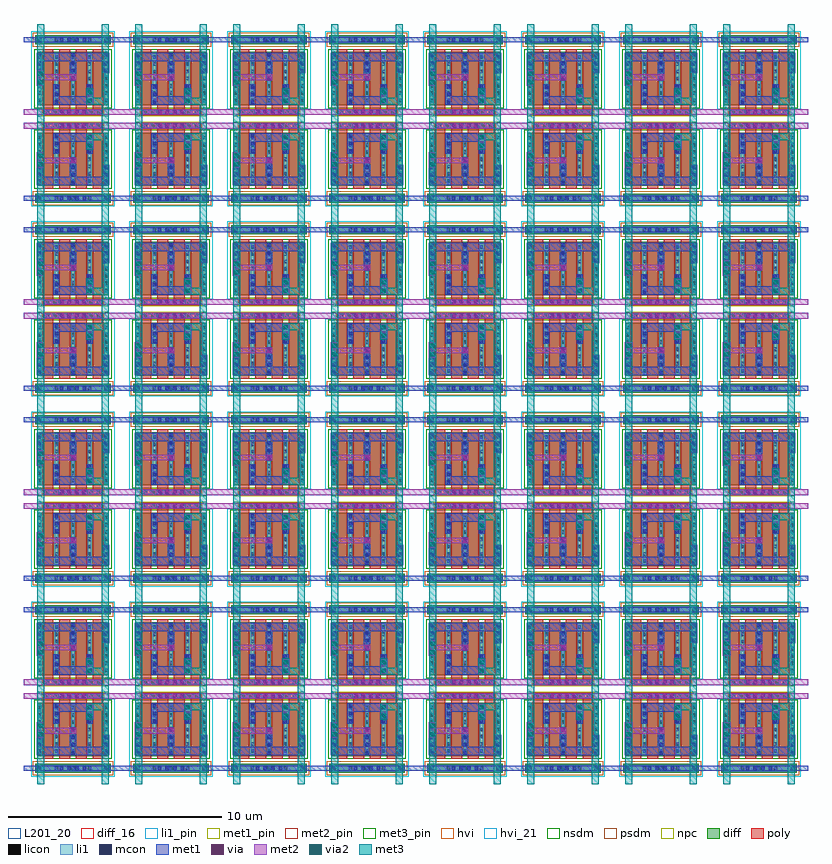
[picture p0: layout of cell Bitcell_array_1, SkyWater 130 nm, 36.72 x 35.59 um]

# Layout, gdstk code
import gdstk
lib = gdstk.Library(unit=1e-6, precision=1e-09)
def R(c, l, rs):  # rectangles x0, y0, x1, y1
    for r in rs: c.add(gdstk.rectangle(r[:2], r[2:], *l))
def A(c, l, x, y, w, h, nx, ny, dx, dy):  # array of equal rectangles
    R(c, l, [(x+i*dx, y+j*dy, x+i*dx+w, y+j*dy+h) for i in range(nx) for j in range(ny)])
diff_16 = (65, 16)
diff = (65, 20)
poly = (66, 20)
licon = (66, 44)
li1_pin = (67, 16)
li1 = (67, 20)
mcon = (67, 44)
met1_pin = (68, 16)
met1 = (68, 20)
via = (68, 44)
met2_pin = (69, 16)
met2 = (69, 20)
via2 = (69, 44)
met3_pin = (70, 16)
met3 = (70, 20)
hvi = (75, 20)
hvi_21 = (75, 21)
nsdm = (93, 44)
psdm = (94, 20)
npc = (95, 20)
L201_20 = (201, 20)

nmos_v5_cdns_71447649592 = lib.new_cell('nmos_v5_CDNS_714476495920')
A(nmos_v5_cdns_71447649592, diff_16, 0.5, 0, 0.28, 2.5, 3, 1, 0.78, 0)
R(nmos_v5_cdns_71447649592, diff_16, [(-0.265,0,0,2.5), (2.84,0,3.105,2.5)])
R(nmos_v5_cdns_71447649592, diff, [(-0.265,0,3.105,2.5)])
A(nmos_v5_cdns_71447649592, poly, 0, -0.13, 0.5, 2.76, 4, 1, 0.78, 0)
A(nmos_v5_cdns_71447649592, poly, 0, 2.63, 0.5, 0.055, 4, 1, 0.78, 0)
R(nmos_v5_cdns_71447649592, poly, [(0,2.685,2.84,2.955)])
A(nmos_v5_cdns_71447649592, licon, -0.225, -0.66, 0.17, 0.17, 5, 2, 0.78, 0.805)
A(nmos_v5_cdns_71447649592, licon, -0.225, 0.485, 0.17, 0.17, 5, 6, 0.78, 0.34)
A(nmos_v5_cdns_71447649592, licon, 0.145, 2.735, 0.17, 0.17, 8, 1, 0.34, 0)
R(nmos_v5_cdns_71447649592, li1_pin, [(-0.305,-0.74,3.145,-0.41), (0.065,2.735,2.775,2.905)])
R(nmos_v5_cdns_71447649592, hvi, [(-0.525,-0.96,3.365,2.68)])
R(nmos_v5_cdns_71447649592, hvi_21, [(-0.525,-0.96,3.365,2.68)])
R(nmos_v5_cdns_71447649592, nsdm, [(-0.39,-0.125,3.23,2.625)])
R(nmos_v5_cdns_71447649592, npc, [(-0.05,2.635,2.89,3.005)])
nmos_v5_cdns_71447649592.add(gdstk.FlexPath([(-0.345,-0.575),(3.185,-0.575)], 0.41, ends="flush", simple_path=True, layer=65, datatype=20))  # diff
nmos_v5_cdns_71447649592.add(gdstk.FlexPath([(2.98,0.065),(2.98,2.435)], 0.17, ends="flush", simple_path=True, layer=67, datatype=20))  # li1
nmos_v5_cdns_71447649592.add(gdstk.FlexPath([(2.2,0.065),(2.2,2.435)], 0.17, ends="flush", simple_path=True, layer=67, datatype=20))  # li1
nmos_v5_cdns_71447649592.add(gdstk.FlexPath([(1.42,0.065),(1.42,2.435)], 0.17, ends="flush", simple_path=True, layer=67, datatype=20))  # li1
nmos_v5_cdns_71447649592.add(gdstk.FlexPath([(0.64,0.065),(0.64,2.435)], 0.17, ends="flush", simple_path=True, layer=67, datatype=20))  # li1
nmos_v5_cdns_71447649592.add(gdstk.FlexPath([(-0.14,0.065),(-0.14,2.435)], 0.17, ends="flush", simple_path=True, layer=67, datatype=20))  # li1
nmos_v5_cdns_71447649592.add(gdstk.FlexPath([(-0.305,-0.575),(3.145,-0.575)], 0.33, ends="flush", simple_path=True, layer=67, datatype=20))  # li1
nmos_v5_cdns_71447649592.add(gdstk.FlexPath([(0.065,2.82),(2.775,2.82)], 0.17, ends="flush", simple_path=True, layer=67, datatype=20))  # li1
nmos_v5_cdns_71447649592.add(gdstk.FlexPath([(-0.475,-0.575),(3.315,-0.575)], 0.67, ends="flush", simple_path=True, layer=94, datatype=20))  # psdm
nmos_v5_cdns_71447649592.add(gdstk.Label('s', (2.972,1.25), layer=65, texttype=6))
nmos_v5_cdns_71447649592.add(gdstk.Label('d', (2.2,1.25), layer=65, texttype=6))
nmos_v5_cdns_71447649592.add(gdstk.Label('s', (1.42,1.25), layer=65, texttype=6))
nmos_v5_cdns_71447649592.add(gdstk.Label('d', (0.64,1.25), layer=65, texttype=6))
nmos_v5_cdns_71447649592.add(gdstk.Label('s', (-0.133,1.25), layer=65, texttype=6))
nmos_v5_cdns_71447649592.add(gdstk.Label('b', (1.42,-0.575), layer=67, texttype=5))
nmos_v5_cdns_71447649592.add(gdstk.Label('g', (1.42,2.82), layer=67, texttype=5))

l1m1_cdns_714476495920 = lib.new_cell('L1M1_CDNS_714476495920')
R(l1m1_cdns_714476495920, li1, [(-0.085,-0.445,0.085,0.445)])
A(l1m1_cdns_714476495920, mcon, -0.085, -0.445, 0.17, 0.17, 1, 3, 0, 0.36)
R(l1m1_cdns_714476495920, met1, [(-0.145,-0.475,0.145,0.475)])

l1m1_cdns_714476495921 = lib.new_cell('L1M1_CDNS_714476495921')
R(l1m1_cdns_714476495921, li1, [(-0.085,-0.625,0.085,0.625)])
A(l1m1_cdns_714476495921, mcon, -0.085, -0.625, 0.17, 0.17, 1, 4, 0, 0.36)
R(l1m1_cdns_714476495921, met1, [(-0.145,-0.655,0.145,0.655)])

m1m2_cdns_714476495922 = lib.new_cell('M1M2_CDNS_714476495922')
R(m1m2_cdns_714476495922, met1, [(-0.16,-0.29,0.16,0.29)])
R(m1m2_cdns_714476495922, via, [(-0.075,-0.235,0.075,-0.085), (-0.075,0.085,0.075,0.235)])
R(m1m2_cdns_714476495922, met2, [(-0.16,-0.29,0.16,0.29)])

m2m3_cdns_714476495923 = lib.new_cell('M2M3_CDNS_714476495923')
R(m2m3_cdns_714476495923, met2, [(-0.185,-0.365,0.185,0.365)])
R(m2m3_cdns_714476495923, via2, [(-0.1,-0.3,0.1,-0.1), (-0.1,0.1,0.1,0.3)])
R(m2m3_cdns_714476495923, met3, [(-0.165,-0.385,0.165,0.385)])

m1m2_cdns_714476495924 = lib.new_cell('M1M2_CDNS_714476495924')
R(m1m2_cdns_714476495924, met1, [(-0.16,-0.13,0.16,0.13)])
R(m1m2_cdns_714476495924, via, [(-0.075,-0.075,0.075,0.075)])
R(m1m2_cdns_714476495924, met2, [(-0.16,-0.13,0.16,0.13)])

l1m1_cdns_714476495925 = lib.new_cell('L1M1_CDNS_714476495925')
R(l1m1_cdns_714476495925, li1, [(-0.625,-0.085,0.625,0.085)])
A(l1m1_cdns_714476495925, mcon, -0.625, -0.085, 0.17, 0.17, 4, 1, 0.36, 0)
R(l1m1_cdns_714476495925, met1, [(-0.685,-0.115,0.685,0.115)])

m1m2_cdns_714476495926 = lib.new_cell('M1M2_CDNS_714476495926')
R(m1m2_cdns_714476495926, met1, [(-0.64,-0.13,0.64,0.13)])
A(m1m2_cdns_714476495926, via, -0.555, -0.075, 0.15, 0.15, 4, 1, 0.32, 0)
R(m1m2_cdns_714476495926, met2, [(-0.64,-0.13,0.64,0.13)])

bitcell = lib.new_cell('Bitcell')
R(bitcell, met1_pin, [(10.445,0.715,10.845,0.945)])
R(bitcell, met1, [(8.34,0.715,9.95,0.945), (11.32,0.715,12.93,0.945), (9.22,1.44,10.49,1.84), (10.78,1.44,12.05,1.84), (10,3.47,11.27,3.87)])
R(bitcell, met2_pin, [(10.4,4.095,10.87,4.355)])
R(bitcell, met2, [(9.3,2.46,10.475,2.72), (8.34,4.095,9.995,4.355), (11.275,4.095,12.93,4.355)])
R(bitcell, met3_pin, [(8.95,4.095,9.28,4.41), (11.99,4.095,12.32,4.41)])
R(bitcell, met3, [(8.95,0.095,9.28,4.545), (11.99,0.095,12.32,4.545), (11.58,3.54,12.32,3.87)])
R(bitcell, L201_20, [(10.475,2.43,10.795,2.75)])
bitcell.add(gdstk.Reference(nmos_v5_cdns_71447649592, (9.215,1.405)))
bitcell.add(gdstk.Reference(l1m1_cdns_714476495920, (9.855,3.395)))
bitcell.add(gdstk.Reference(l1m1_cdns_714476495920, (11.415,3.395)))
bitcell.add(gdstk.Reference(l1m1_cdns_714476495920, (9.075,1.915)))
bitcell.add(gdstk.Reference(l1m1_cdns_714476495920, (12.195,1.915)))
bitcell.add(gdstk.Reference(l1m1_cdns_714476495921, (10.635,2.095)))
bitcell.add(gdstk.Reference(m1m2_cdns_714476495922, (11.415,3.58)))
bitcell.add(gdstk.Reference(m2m3_cdns_714476495923, (11.415,3.485)))
bitcell.add(gdstk.Reference(m2m3_cdns_714476495923, (9.115,2.62)))
bitcell.add(gdstk.Reference(m1m2_cdns_714476495924, (10.635,2.59)))
bitcell.add(gdstk.Reference(l1m1_cdns_714476495925, (10.635,0.83)))
bitcell.add(gdstk.Reference(l1m1_cdns_714476495925, (10.635,4.225)))
bitcell.add(gdstk.Reference(m1m2_cdns_714476495926, (10.635,4.225)))
bitcell.add(gdstk.Label('WL', (10.635,4.225), layer=69, texttype=5))
bitcell.add(gdstk.Label('GND', (10.64,0.83), layer=68, texttype=5))
bitcell.add(gdstk.Label('SL', (9.115,4.255), layer=70, texttype=5))
bitcell.add(gdstk.Label('BL', (12.155,4.255), layer=70, texttype=5))

bitcell_array_1 = lib.new_cell('Bitcell_array_1')
bitcell_array_1.add(gdstk.Reference(bitcell, (11.005,9.87)))
bitcell_array_1.add(gdstk.Reference(bitcell, (6.415,9.87)))
bitcell_array_1.add(gdstk.Reference(bitcell, (6.415,10.055), x_reflection=True))
bitcell_array_1.add(gdstk.Reference(bitcell, (6.415,27.855), x_reflection=True))
bitcell_array_1.add(gdstk.Reference(bitcell, (1.825,27.855), x_reflection=True))
bitcell_array_1.add(gdstk.Reference(bitcell, (15.595,9.87)))
bitcell_array_1.add(gdstk.Reference(bitcell, (-7.355,9.87)))
bitcell_array_1.add(gdstk.Reference(bitcell, (24.775,9.87)))
bitcell_array_1.add(gdstk.Reference(bitcell, (20.185,9.87)))
bitcell_array_1.add(gdstk.Reference(bitcell, (11.005,10.055), x_reflection=True))
bitcell_array_1.add(gdstk.Reference(bitcell, (-2.765,18.77)))
bitcell_array_1.add(gdstk.Reference(bitcell, (1.825,18.77)))
bitcell_array_1.add(gdstk.Reference(bitcell, (24.775,27.67)))
bitcell_array_1.add(gdstk.Reference(bitcell, (-2.765,27.855), x_reflection=True))
bitcell_array_1.add(gdstk.Reference(bitcell, (15.595,27.67)))
bitcell_array_1.add(gdstk.Reference(bitcell, (20.185,27.67)))
bitcell_array_1.add(gdstk.Reference(bitcell, (-7.355,10.055), x_reflection=True))
bitcell_array_1.add(gdstk.Reference(bitcell, (6.415,18.77)))
bitcell_array_1.add(gdstk.Reference(bitcell, (11.005,18.77)))
bitcell_array_1.add(gdstk.Reference(bitcell, (-7.355,27.67)))
bitcell_array_1.add(gdstk.Reference(bitcell, (11.005,27.67)))
bitcell_array_1.add(gdstk.Reference(bitcell, (1.825,27.67)))
bitcell_array_1.add(gdstk.Reference(bitcell, (6.415,27.67)))
bitcell_array_1.add(gdstk.Reference(bitcell, (15.595,10.055), x_reflection=True))
bitcell_array_1.add(gdstk.Reference(bitcell, (-7.355,18.77)))
bitcell_array_1.add(gdstk.Reference(bitcell, (1.825,36.755), x_reflection=True))
bitcell_array_1.add(gdstk.Reference(bitcell, (-2.765,27.67)))
bitcell_array_1.add(gdstk.Reference(bitcell, (15.595,18.77)))
bitcell_array_1.add(gdstk.Reference(bitcell, (11.005,36.755), x_reflection=True))
bitcell_array_1.add(gdstk.Reference(bitcell, (6.415,36.755), x_reflection=True))
bitcell_array_1.add(gdstk.Reference(bitcell, (20.185,10.055), x_reflection=True))
bitcell_array_1.add(gdstk.Reference(bitcell, (24.775,0.97)))
bitcell_array_1.add(gdstk.Reference(bitcell, (24.775,18.955), x_reflection=True))
bitcell_array_1.add(gdstk.Reference(bitcell, (-2.765,10.055), x_reflection=True))
bitcell_array_1.add(gdstk.Reference(bitcell, (20.185,0.97)))
bitcell_array_1.add(gdstk.Reference(bitcell, (-7.355,18.955), x_reflection=True))
bitcell_array_1.add(gdstk.Reference(bitcell, (1.825,10.055), x_reflection=True))
bitcell_array_1.add(gdstk.Reference(bitcell, (15.595,0.97)))
bitcell_array_1.add(gdstk.Reference(bitcell, (1.825,9.87)))
bitcell_array_1.add(gdstk.Reference(bitcell, (11.005,0.97)))
bitcell_array_1.add(gdstk.Reference(bitcell, (15.595,18.955), x_reflection=True))
bitcell_array_1.add(gdstk.Reference(bitcell, (1.825,18.955), x_reflection=True))
bitcell_array_1.add(gdstk.Reference(bitcell, (-2.765,18.955), x_reflection=True))
bitcell_array_1.add(gdstk.Reference(bitcell, (-2.765,36.755), x_reflection=True))
bitcell_array_1.add(gdstk.Reference(bitcell, (20.185,18.955), x_reflection=True))
bitcell_array_1.add(gdstk.Reference(bitcell, (11.005,18.955), x_reflection=True))
bitcell_array_1.add(gdstk.Reference(bitcell, (20.185,27.855), x_reflection=True))
bitcell_array_1.add(gdstk.Reference(bitcell, (6.415,18.955), x_reflection=True))
bitcell_array_1.add(gdstk.Reference(bitcell, (-2.765,9.87)))
bitcell_array_1.add(gdstk.Reference(bitcell, (11.005,27.855), x_reflection=True))
bitcell_array_1.add(gdstk.Reference(bitcell, (24.775,27.855), x_reflection=True))
bitcell_array_1.add(gdstk.Reference(bitcell, (15.595,27.855), x_reflection=True))
bitcell_array_1.add(gdstk.Reference(bitcell, (-7.355,27.855), x_reflection=True))
bitcell_array_1.add(gdstk.Reference(bitcell, (20.185,18.77)))
bitcell_array_1.add(gdstk.Reference(bitcell, (15.595,36.755), x_reflection=True))
bitcell_array_1.add(gdstk.Reference(bitcell, (24.775,18.77)))
bitcell_array_1.add(gdstk.Reference(bitcell, (20.185,36.755), x_reflection=True))
bitcell_array_1.add(gdstk.Reference(bitcell, (24.775,36.755), x_reflection=True))
bitcell_array_1.add(gdstk.Reference(bitcell, (1.825,0.97)))
bitcell_array_1.add(gdstk.Reference(bitcell, (6.415,0.97)))
bitcell_array_1.add(gdstk.Reference(bitcell, (-7.355,0.97)))
bitcell_array_1.add(gdstk.Reference(bitcell, (-2.765,0.97)))
bitcell_array_1.add(gdstk.Reference(bitcell, (24.775,10.055), x_reflection=True))
bitcell_array_1.add(gdstk.Reference(bitcell, (-7.355,36.755), x_reflection=True))

lib.write_gds('Bitcell_array_1.gds')
